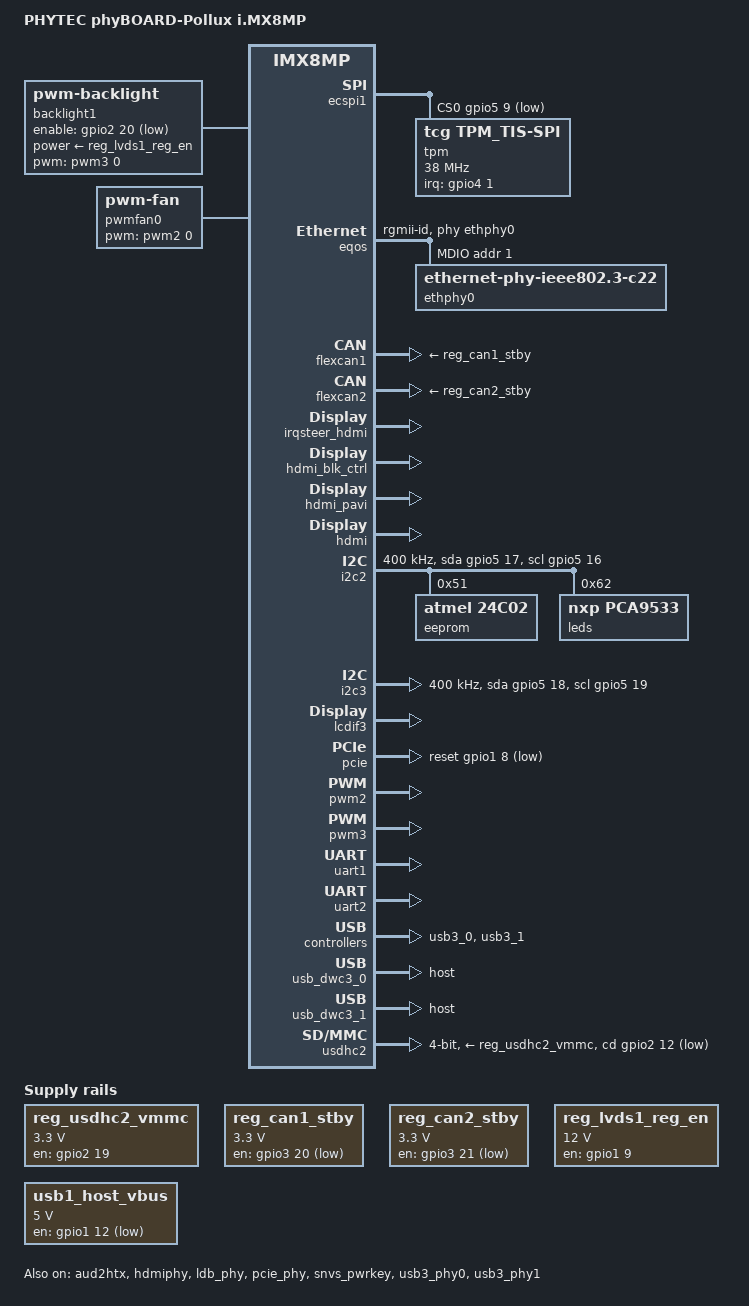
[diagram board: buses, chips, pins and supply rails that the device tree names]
// SPDX-License-Identifier: GPL-2.0
/*
 * Copyright (C) 2020 PHYTEC Messtechnik GmbH
 * Author: Teresa Remmet <t.remmet@phytec.de>
 */

/dts-v1/;

#include <dt-bindings/phy/phy-imx8-pcie.h>
#include <dt-bindings/leds/leds-pca9532.h>
#include <dt-bindings/pwm/pwm.h>
#include "imx8mp-phycore-som.dtsi"

/ {
	model = "PHYTEC phyBOARD-Pollux i.MX8MP";
	compatible = "phytec,imx8mp-phyboard-pollux-rdk",
		     "phytec,imx8mp-phycore-som", "fsl,imx8mp";

	chosen {
		stdout-path = &uart1;
	};

	reg_usdhc2_vmmc: regulator-usdhc2 {
		compatible = "regulator-fixed";
		pinctrl-names = "default";
		pinctrl-0 = <&pinctrl_reg_usdhc2_vmmc>;
		regulator-name = "VSD_3V3";
		regulator-min-microvolt = <3300000>;
		regulator-max-microvolt = <3300000>;
		gpio = <&gpio2 19 GPIO_ACTIVE_HIGH>;
		enable-active-high;
		startup-delay-us = <100>;
		off-on-delay-us = <12000>;
	};

	backlight1: backlight1 {
		compatible = "pwm-backlight";
		pinctrl-names = "default";
		pinctrl-0 = <&pinctrl_lvds1>;
		default-brightness-level = <6>;
		pwms = <&pwm3 0 50000 0>;
		power-supply = <&reg_lvds1_reg_en>;
		enable-gpios = <&gpio2 20 GPIO_ACTIVE_LOW>;
		brightness-levels= <0 4 8 16 32 64 128 255>;
	};

	pwmfan0: pwm-fan {
		compatible = "pwm-fan";
		cooling-levels = <1 90 150 200 255>;
		pwms = <&pwm2 0 38000 PWM_POLARITY_INVERTED>;
		#cooling-cells = <2>;
	};

	reg_can1_stby: regulator-can1-stby {
		compatible = "regulator-fixed";
		regulator-name = "can1-stby";
		pinctrl-names = "default";
		pinctrl-0 = <&pinctrl_flexcan1_reg>;
		regulator-min-microvolt = <3300000>;
		regulator-max-microvolt = <3300000>;
		gpio = <&gpio3 20 GPIO_ACTIVE_LOW>;
	};

	reg_can2_stby: regulator-can2-stby {
		compatible = "regulator-fixed";
		regulator-name = "can2-stby";
		pinctrl-names = "default";
		pinctrl-0 = <&pinctrl_flexcan2_reg>;
		regulator-min-microvolt = <3300000>;
		regulator-max-microvolt = <3300000>;
		gpio = <&gpio3 21 GPIO_ACTIVE_LOW>;
	};

	reg_lvds1_reg_en: regulator-lvds1 {
		compatible = "regulator-fixed";
		regulator-name = "lvds1_reg_en";
		regulator-min-microvolt = <12000000>;
		regulator-max-microvolt = <12000000>;
		gpio = <&gpio1 9 GPIO_ACTIVE_HIGH>;
		enable-active-high;
	};

	regulator-usb1-vbus {
		compatible = "regulator-fixed";
		regulator-name = "usb1_host_vbus";
		pinctrl-names = "default";
		pinctrl-0 = <&pinctrl_usb1_vbus>;
		regulator-min-microvolt = <5000000>;
		regulator-max-microvolt = <5000000>;
		gpio = <&gpio1 12 GPIO_ACTIVE_LOW>;
		regulator-always-on;
	};

	sound-hdmi {
		compatible = "fsl,imx-audio-cdnhdmi";
		model = "audio-hdmi";
		audio-cpu = <&aud2htx>;
		hdmi-out;
		constraint-rate = <44100>,
				<88200>,
				<176400>,
				<32000>,
				<48000>,
				<96000>,
				<192000>;
	};

	reserved-memory {
		#address-cells = <2>;
		#size-cells = <2>;
		ranges;

		rpmsg_reserved: rpmsg@55800000 {
			no-map;
			reg = <0 0x55800000 0 0x800000>;
		};
	};
};


&aud2htx {
	status = "okay";
};

/* TPM */
&ecspi1 {
	#address-cells = <1>;
	#size-cells = <0>;
	cs-gpios = <&gpio5 9 GPIO_ACTIVE_LOW>;
	fsl,spi-num-chipselects = <1>;
	pinctrl-names = "default";
	pinctrl-0 = <&pinctrl_ecspi1 &pinctrl_ecspi1_cs>;
	status = "okay";

	tpm: tpm_tis@0 {
		compatible = "tcg,tpm_tis-spi";
		interrupts = <1 IRQ_TYPE_LEVEL_LOW>;
		interrupt-parent = <&gpio4>;
		pinctrl-names = "default";
		pinctrl-0 = <&pinctrl_tpm>;
		reg = <0>;
		spi-max-frequency = <38000000>;
		status = "okay";
	};
};

&eqos {
	pinctrl-names = "default";
	pinctrl-0 = <&pinctrl_eqos>;
	phy-mode = "rgmii-id";
	phy-handle = <&ethphy0>;
	status = "okay";

	mdio {
		compatible = "snps,dwmac-mdio";
		#address-cells = <1>;
		#size-cells = <0>;

		ethphy0: ethernet-phy@1 {
			compatible = "ethernet-phy-ieee802.3-c22";
			reg = <0x1>;
			ti,rx-internal-delay = <DP83867_RGMIIDCTL_1_50_NS>;
			ti,tx-internal-delay = <DP83867_RGMIIDCTL_1_50_NS>;
			ti,fifo-depth = <DP83867_PHYCR_FIFO_DEPTH_4_B_NIB>;
			ti,clk-output-sel = <DP83867_CLK_O_SEL_OFF>;
			enet-phy-lane-no-swap;
		};
	};
};

/* CAN FD */
&flexcan1 {
	pinctrl-names = "default";
	pinctrl-0 = <&pinctrl_flexcan1>;
	xceiver-supply = <&reg_can1_stby>;
	status = "okay";
};

&flexcan2 {
	pinctrl-names = "default";
	pinctrl-0 = <&pinctrl_flexcan2>;
	xceiver-supply = <&reg_can2_stby>;
	status = "okay";
};

/* HDMI */
&irqsteer_hdmi {
	status = "okay";
};

&hdmi_blk_ctrl {
	status = "okay";
};

&hdmi_pavi {
	status = "okay";
};

&hdmi {
	status = "okay";
};

&hdmiphy {
	status = "okay";
};

&i2c2 {
	clock-frequency = <400000>;
	pinctrl-names = "default", "gpio";
	pinctrl-0 = <&pinctrl_i2c2>;
	pinctrl-1 = <&pinctrl_i2c2_gpio>;
	sda-gpios = <&gpio5 17 (GPIO_ACTIVE_HIGH | GPIO_OPEN_DRAIN)>;
	scl-gpios = <&gpio5 16 (GPIO_ACTIVE_HIGH | GPIO_OPEN_DRAIN)>;
	status = "okay";

	eeprom@51 {
		compatible = "atmel,24c02";
		reg = <0x51>;
		pagesize = <16>;
	};

	leds@62 {
		compatible = "nxp,pca9533";
		reg = <0x62>;

		led1 {
			type = <PCA9532_TYPE_LED>;
		};

		led2 {
			type = <PCA9532_TYPE_LED>;
		};

		led3 {
			type = <PCA9532_TYPE_LED>;
		};
	};
};

&i2c3 {
	clock-frequency = <400000>;
	pinctrl-names = "default", "gpio";
	pinctrl-0 = <&pinctrl_i2c3>;
	pinctrl-1 = <&pinctrl_i2c3_gpio>;
	sda-gpios = <&gpio5 18 (GPIO_ACTIVE_HIGH | GPIO_OPEN_DRAIN)>;
	scl-gpios = <&gpio5 19 (GPIO_ACTIVE_HIGH | GPIO_OPEN_DRAIN)>;
};

&lcdif3 {
	status = "okay";
};

&ldb_phy {
	status = "okay";
};

&pcie{
	pinctrl-names = "default";
	pinctrl-0 = <&pinctrl_pcie>;
	//clkreq-gpio = <&gpio1 11 GPIO_ACTIVE_LOW>;
	disable-gpio = <&gpio1 14 GPIO_ACTIVE_LOW>;
	reset-gpio = <&gpio1 8 GPIO_ACTIVE_LOW>;
	clocks = <&clk IMX8MP_CLK_HSIO_ROOT>,
		 <&clk IMX8MP_CLK_PCIE_AUX>,
		 <&clk IMX8MP_CLK_PCIE_ROOT>;
	clock-names = "pcie", "pcie_aux", "pcie_bus";
	assigned-clocks = <&clk IMX8MP_CLK_HSIO_AXI>,
			  <&clk IMX8MP_CLK_PCIE_AUX>;
	assigned-clock-rates = <500000000>, <10000000>;
	assigned-clock-parents = <&clk IMX8MP_SYS_PLL2_500M>,
				 <&clk IMX8MP_SYS_PLL2_50M>;
	reserved-region = <&rpmsg_reserved>;
	status = "okay";
};

&pcie_phy{
	fsl,refclk-pad-mode = <IMX8_PCIE_REFCLK_PAD_INPUT>;
	clocks = <&clk IMX8MP_CLK_HSIO_AXI>;
	clock-names = "ref";
	status = "okay";
};

/* PWM */
&pwm2 {
	status = "okay";
	pinctrl-names = "default";
	pinctrl-0 = <&pinctrl_pwm2>;
};

&pwm3 {
	status = "okay";
	pinctrl-names = "default";
	pinctrl-0 = <&pinctrl_pwm3>;
};

&snvs_pwrkey {
	status = "okay";
};

&rv3028 {
       pinctrl-names = "default";
       pinctrl-0 = <&pinctrl_rtc>;
       interrupt-parent = <&gpio4>;
       interrupts = <19 IRQ_TYPE_LEVEL_LOW>;
       wakeup-source;
       trickle-resistor-ohms = <3000>;
       enable-level-switching-mode;
};

/* debug console */
&uart1 {
	pinctrl-names = "default";
	pinctrl-0 = <&pinctrl_uart1>;
	status = "okay";
};

/* UART2: X2 header */
&uart2 {
	pinctrl-names = "default";
	pinctrl-0 = <&pinctrl_uart2>;
	assigned-clocks = <&clk IMX8MP_CLK_UART2>;
	assigned-clock-parents = <&clk IMX8MP_SYS_PLL1_80M>;
	uart-has-rtscts;
	status = "okay";
};

/* USB */
&usb3_phy0 {
	status = "okay";
};

&usb3_0 {
	status = "okay";
};

&usb_dwc3_0 {
	dr_mode = "host";
	status = "okay";
};

&usb3_phy1 {
	status = "okay";
};

&usb3_1 {
	status = "okay";
};

&usb_dwc3_1 {
	dr_mode = "host";
	status = "okay";
};

/* SD-Card */
&usdhc2 {
	pinctrl-names = "default", "state_100mhz", "state_200mhz";
	pinctrl-0 = <&pinctrl_usdhc2>, <&pinctrl_usdhc2_pins>;
	pinctrl-1 = <&pinctrl_usdhc2_100mhz>, <&pinctrl_usdhc2_pins>;
	pinctrl-2 = <&pinctrl_usdhc2_200mhz>, <&pinctrl_usdhc2_pins>;
	cd-gpios = <&gpio2 12 GPIO_ACTIVE_LOW>;
	vmmc-supply = <&reg_usdhc2_vmmc>;
	bus-width = <4>;
	status = "okay";
};

&iomuxc {
	pinctrl-names = "default";
	pinctrl-0 = <&pinctrl_hog>;

	pinctrl_ecspi1: ecspi1grp {
		fsl,pins = <
			MX8MP_IOMUXC_ECSPI1_MISO__ECSPI1_MISO	0x80
			MX8MP_IOMUXC_ECSPI1_MOSI__ECSPI1_MOSI	0x80
			MX8MP_IOMUXC_ECSPI1_SCLK__ECSPI1_SCLK	0x80
		>;
	};

	pinctrl_ecspi1_cs: ecspi1csgrp {
		fsl,pins = <
			MX8MP_IOMUXC_ECSPI1_SS0__GPIO5_IO09	0x00
		>;
	};

	pinctrl_eqos: eqosgrp {
		fsl,pins = <
			MX8MP_IOMUXC_ENET_MDC__ENET_QOS_MDC			0x2
			MX8MP_IOMUXC_ENET_MDIO__ENET_QOS_MDIO			0x2
			MX8MP_IOMUXC_ENET_RD0__ENET_QOS_RGMII_RD0		0x90
			MX8MP_IOMUXC_ENET_RD1__ENET_QOS_RGMII_RD1		0x90
			MX8MP_IOMUXC_ENET_RD2__ENET_QOS_RGMII_RD2		0x90
			MX8MP_IOMUXC_ENET_RD3__ENET_QOS_RGMII_RD3		0x90
			MX8MP_IOMUXC_ENET_RXC__CCM_ENET_QOS_CLOCK_GENERATE_RX_CLK	0x90
			MX8MP_IOMUXC_ENET_RX_CTL__ENET_QOS_RGMII_RX_CTL		0x90
			MX8MP_IOMUXC_ENET_TD0__ENET_QOS_RGMII_TD0		0x16
			MX8MP_IOMUXC_ENET_TD1__ENET_QOS_RGMII_TD1		0x16
			MX8MP_IOMUXC_ENET_TD2__ENET_QOS_RGMII_TD2		0x16
			MX8MP_IOMUXC_ENET_TD3__ENET_QOS_RGMII_TD3		0x16
			MX8MP_IOMUXC_ENET_TX_CTL__ENET_QOS_RGMII_TX_CTL		0x16
			MX8MP_IOMUXC_ENET_TXC__CCM_ENET_QOS_CLOCK_GENERATE_TX_CLK	0x16
			MX8MP_IOMUXC_SAI1_MCLK__GPIO4_IO20			0x10
		>;
	};

	pinctrl_flexcan1: flexcan1grp {
		fsl,pins = <
			MX8MP_IOMUXC_SAI5_RXD2__CAN1_RX		0x154
			MX8MP_IOMUXC_SAI5_RXD1__CAN1_TX		0x154
		>;
	};

	pinctrl_flexcan2: flexcan2grp {
		fsl,pins = <
			MX8MP_IOMUXC_SAI5_MCLK__CAN2_RX		0x154
			MX8MP_IOMUXC_SAI5_RXD3__CAN2_TX		0x154
		>;
	};

	pinctrl_flexcan1_reg: flexcan1reggrp {
		fsl,pins = <
			MX8MP_IOMUXC_SAI5_RXC__GPIO3_IO20	0x154
		>;
	};

	pinctrl_flexcan2_reg: flexcan2reggrp {
		fsl,pins = <
			MX8MP_IOMUXC_SAI5_RXD0__GPIO3_IO21	0x154
		>;
	};

	pinctrl_hog: hoggrp {
		fsl,pins = <
			MX8MP_IOMUXC_HDMI_DDC_SCL__HDMIMIX_HDMI_SCL	0x400001c2
			MX8MP_IOMUXC_HDMI_DDC_SDA__HDMIMIX_HDMI_SDA	0x400001c2
			MX8MP_IOMUXC_HDMI_HPD__HDMIMIX_HDMI_HPD		0x40000019
			MX8MP_IOMUXC_HDMI_CEC__HDMIMIX_HDMI_CEC		0x40000019
		>;
	};

	pinctrl_i2c2: i2c2grp {
		fsl,pins = <
			MX8MP_IOMUXC_I2C2_SCL__I2C2_SCL		0x400001c2
			MX8MP_IOMUXC_I2C2_SDA__I2C2_SDA		0x400001c2
		>;
	};

	pinctrl_i2c2_gpio: i2c2gpiogrp {
		fsl,pins = <
			MX8MP_IOMUXC_I2C2_SCL__GPIO5_IO16	0x1e2
			MX8MP_IOMUXC_I2C2_SDA__GPIO5_IO17	0x1e2
		>;
	};

	pinctrl_i2c3: i2c3grp {
		fsl,pins = <
			MX8MP_IOMUXC_I2C3_SCL__I2C3_SCL		0x400001c2
			MX8MP_IOMUXC_I2C3_SDA__I2C3_SDA		0x400001c2
		>;
	};

	pinctrl_i2c3_gpio: i2c3gpiogrp {
		fsl,pins = <
			MX8MP_IOMUXC_I2C3_SCL__GPIO5_IO18	0x1e3
			MX8MP_IOMUXC_I2C3_SDA__GPIO5_IO19	0x1e3
		>;
	};

	pinctrl_lvds1: lvds1grp {
		fsl,pins = <
			MX8MP_IOMUXC_SD2_WP__GPIO2_IO20		0x12
			MX8MP_IOMUXC_GPIO1_IO09__GPIO1_IO09	0x12
		>;
	};

	pinctrl_pcie: pciegrp {
		fsl,pins = <
			MX8MP_IOMUXC_GPIO1_IO08__GPIO1_IO08	0x41
			MX8MP_IOMUXC_GPIO1_IO11__GPIO1_IO11	0x61
			MX8MP_IOMUXC_GPIO1_IO14__GPIO1_IO14	0x41
		>;
	};

	pinctrl_pwm2: pwm2grp {
		fsl,pins = <
			MX8MP_IOMUXC_SPDIF_RX__PWM2_OUT		0x12
		>;
	};

	pinctrl_pwm3: pwm3grp {
		fsl,pins = <
			MX8MP_IOMUXC_SPDIF_TX__PWM3_OUT		0x12
		>;
	};

	pinctrl_reg_usdhc2_vmmc: regusdhc2vmmcgrp {
		fsl,pins = <
			MX8MP_IOMUXC_SD2_RESET_B__GPIO2_IO19	0x40
		>;
	};

	pinctrl_rtc: rtcgrp {
		fsl,pins = <
			MX8MP_IOMUXC_SAI1_TXD7__GPIO4_IO19	0x1C0
		>;
	};

	pinctrl_tpm: tpmgrp {
		fsl,pins = <
			MX8MP_IOMUXC_SAI1_RXC__GPIO4_IO01	0x140
		>;
	};

	pinctrl_uart1: uart1grp {
		fsl,pins = <
			MX8MP_IOMUXC_UART1_RXD__UART1_DCE_RX	0x49
			MX8MP_IOMUXC_UART1_TXD__UART1_DCE_TX	0x49
		>;
	};

	pinctrl_usb1_vbus: usb1grp {
		fsl,pins = <
			MX8MP_IOMUXC_GPIO1_IO12__GPIO1_IO12     0x19
		>;
	};

	pinctrl_uart2: uart2grp {
		fsl,pins = <
			MX8MP_IOMUXC_UART2_RXD__UART2_DCE_RX	0x49
			MX8MP_IOMUXC_UART2_TXD__UART2_DCE_TX	0x49
			MX8MP_IOMUXC_SAI3_RXC__UART2_DCE_CTS	0x140
			MX8MP_IOMUXC_SAI3_RXD__UART2_DCE_RTS	0x140
		>;
	};

	pinctrl_uart1: uart1grp {
		fsl,pins = <
			MX8MP_IOMUXC_UART1_RXD__UART1_DCE_RX	0x40
			MX8MP_IOMUXC_UART1_TXD__UART1_DCE_TX	0x40
		>;
	};

	pinctrl_usdhc2_pins: usdhc2-gpiogrp {
		fsl,pins = <
			MX8MP_IOMUXC_SD2_CD_B__GPIO2_IO12	0x1c4
		>;
	};

	pinctrl_usdhc2: usdhc2grp {
		fsl,pins = <
			MX8MP_IOMUXC_SD2_CLK__USDHC2_CLK	0x190
			MX8MP_IOMUXC_SD2_CMD__USDHC2_CMD	0x1d0
			MX8MP_IOMUXC_SD2_DATA0__USDHC2_DATA0	0x1d0
			MX8MP_IOMUXC_SD2_DATA1__USDHC2_DATA1	0x1d0
			MX8MP_IOMUXC_SD2_DATA2__USDHC2_DATA2	0x1d0
			MX8MP_IOMUXC_SD2_DATA3__USDHC2_DATA3	0x1d0
			MX8MP_IOMUXC_GPIO1_IO04__USDHC2_VSELECT	0xc0
		>;
	};

	pinctrl_usdhc2_100mhz: usdhc2-100mhzgrp {
		fsl,pins = <
			MX8MP_IOMUXC_SD2_CLK__USDHC2_CLK	0x194
			MX8MP_IOMUXC_SD2_CMD__USDHC2_CMD	0x1d4
			MX8MP_IOMUXC_SD2_DATA0__USDHC2_DATA0	0x1d4
			MX8MP_IOMUXC_SD2_DATA1__USDHC2_DATA1	0x1d4
			MX8MP_IOMUXC_SD2_DATA2__USDHC2_DATA2	0x1d4
			MX8MP_IOMUXC_SD2_DATA3__USDHC2_DATA3	0x1d4
			MX8MP_IOMUXC_GPIO1_IO04__USDHC2_VSELECT	0xc0
		>;
	};

	pinctrl_usdhc2_200mhz: usdhc2-200mhzgrp {
		fsl,pins = <
			MX8MP_IOMUXC_SD2_CLK__USDHC2_CLK	0x196
			MX8MP_IOMUXC_SD2_CMD__USDHC2_CMD	0x1d6
			MX8MP_IOMUXC_SD2_DATA0__USDHC2_DATA0	0x1d6
			MX8MP_IOMUXC_SD2_DATA1__USDHC2_DATA1	0x1d6
			MX8MP_IOMUXC_SD2_DATA2__USDHC2_DATA2	0x1d6
			MX8MP_IOMUXC_SD2_DATA3__USDHC2_DATA3	0x1d6
			MX8MP_IOMUXC_GPIO1_IO04__USDHC2_VSELECT	0xc0
		>;
	};
};
